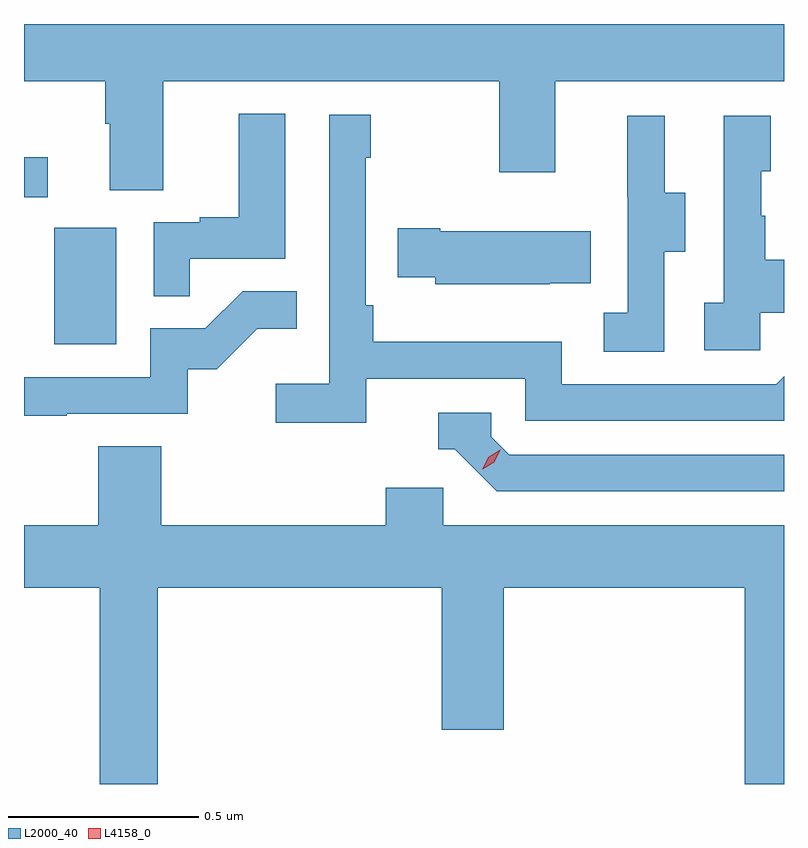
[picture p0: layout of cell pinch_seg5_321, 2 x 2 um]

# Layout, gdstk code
import gdstk
lib = gdstk.Library(unit=1e-6, precision=1e-09)
def R(c, l, rs):  # rectangles x0, y0, x1, y1
    for r in rs: c.add(gdstk.rectangle(r[:2], r[2:], *l))
def P(c, l, *ps):  # polygons
    for p in ps: c.add(gdstk.Polygon(p, *l))
L2000_40 = (2000, 40)
L4158_0 = (4158, 0)

pinch_seg5_321 = lib.new_cell('pinch_seg5_321')
R(pinch_seg5_321, L2000_40, [(943.208,893.364,943.372,893.671), (943.129,893.751,943.192,893.857)])
P(pinch_seg5_321, L2000_40, [(943.495,894.056),(944.38,894.056),(944.38,893.817),(944.527,893.817),(944.527,894.056),(945.129,894.056),(945.129,894.207),(943.129,894.207),(943.129,894.056),(943.343,894.056),(943.343,893.944),(943.355,893.944),(943.355,893.77),(943.495,893.77)],
  [(943.565,893.589),(943.816,893.589),(943.816,893.971),(943.694,893.971),(943.694,893.698),(943.591,893.698),(943.591,893.685),(943.47,893.685),(943.47,893.491),(943.565,893.491)],
  [(944.03,893.274),(944.448,893.274),(944.448,893.163),(945.129,893.163),(945.129,893.28),(945.108,893.259),(944.544,893.259),(944.544,893.371),(944.048,893.371),(944.048,893.467),(944.028,893.467),(944.028,893.855),(944.041,893.855),(944.041,893.968),(943.932,893.968),(943.932,893.26),(943.791,893.26),(943.791,893.158),(944.03,893.158)],
  [(944.814,893.608),(944.869,893.608),(944.869,893.763),(944.815,893.763),(944.815,893.965),(944.717,893.965),(944.717,893.751),(944.718,893.751),(944.718,893.447),(944.655,893.447),(944.655,893.344),(944.814,893.344)],
  [(945.066,893.447),(945.129,893.447),(945.129,893.587),(945.079,893.587),(945.079,893.702),(945.069,893.702),(945.069,893.82),(945.094,893.82),(945.094,893.965),(944.97,893.965),(944.97,893.474),(944.919,893.474),(944.919,893.349),(945.066,893.349)],
  [(944.513,893.525),(944.621,893.525),(944.621,893.662),(944.224,893.662),(944.224,893.67),(944.113,893.67),(944.113,893.54),(944.211,893.54),(944.211,893.522),(944.513,893.522)],
  [(943.241,893.181),(943.56,893.181),(943.56,893.298),(943.636,893.298),(943.743,893.405),(943.847,893.405),(943.847,893.504),(943.704,893.504),(943.606,893.406),(943.461,893.406),(943.461,893.277),(943.129,893.277),(943.129,893.176),(943.241,893.176)],
  [(945.129,893.073),(944.406,893.073),(944.358,893.121),(944.358,893.184),(944.219,893.184),(944.219,893.088),(944.262,893.088),(944.373,892.977),(945.129,892.977)],
  [(943.481,892.724),(944.228,892.724),(944.228,892.35),(944.392,892.35),(944.392,892.724),(945.026,892.724),(945.026,892.207),(945.129,892.207),(945.129,892.888),(944.232,892.888),(944.232,892.986),(944.081,892.986),(944.081,892.888),(943.49,892.888),(943.49,893.096),(943.325,893.096),(943.325,892.888),(943.129,892.888),(943.129,892.724),(943.328,892.724),(943.328,892.207),(943.481,892.207)])
P(pinch_seg5_321, L4158_0, [(944.335,893.035),(944.335,893.035),(944.351,893.067),(944.382,893.086),(944.382,893.086),(944.382,893.086),(944.366,893.054),(944.336,893.035)])

lib.write_gds('pinch_seg5_321.gds')
